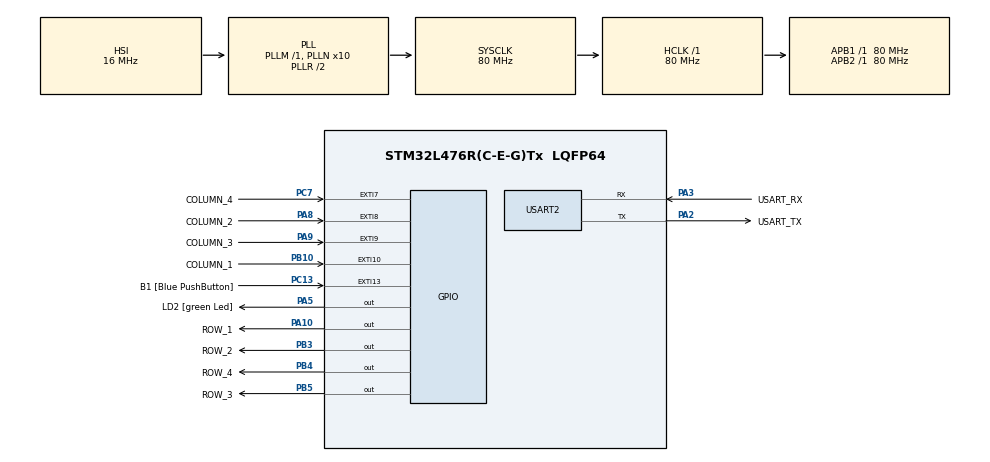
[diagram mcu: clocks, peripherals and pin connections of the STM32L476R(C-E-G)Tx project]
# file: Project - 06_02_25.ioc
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Mcu.Family=STM32L4
Mcu.Name=STM32L476R(C-E-G)Tx
Mcu.Package=LQFP64
NVIC.EXTI15_10_IRQn=true\:0\:0\:false\:false\:true\:true\:true\:true
NVIC.EXTI9_5_IRQn=true\:0\:0\:false\:false\:true\:true\:true\:true
NVIC.PriorityGroup=NVIC_PRIORITYGROUP_4
NVIC.USART2_IRQn=true\:0\:0\:false\:false\:true\:true\:true\:true
PA10.GPIO_Label=ROW_1
PA10.GPIO_ModeDefaultOutputPP=GPIO_MODE_OUTPUT_OD
PA10.GPIO_PuPd=GPIO_NOPULL
PA10.PinState=GPIO_PIN_RESET
PA10.Signal=GPIO_Output
PA13\ (JTMS-SWDIO).GPIO_Label=TMS
PA13\ (JTMS-SWDIO).Mode=Serial_Wire
PA13\ (JTMS-SWDIO).Signal=SYS_JTMS-SWDIO
PA14\ (JTCK-SWCLK).GPIO_Label=TCK
PA14\ (JTCK-SWCLK).Mode=Serial_Wire
PA14\ (JTCK-SWCLK).Signal=SYS_JTCK-SWCLK
PA2.GPIO_Label=USART_TX
PA2.GPIO_Mode=GPIO_MODE_AF_PP
PA2.GPIO_PuPd=GPIO_NOPULL
PA2.GPIO_Speed=GPIO_SPEED_FREQ_VERY_HIGH
PA2.Mode=Asynchronous
PA2.Signal=USART2_TX
PA3.GPIO_Label=USART_RX
PA3.GPIO_Mode=GPIO_MODE_AF_PP
PA3.GPIO_PuPd=GPIO_NOPULL
PA3.GPIO_Speed=GPIO_SPEED_FREQ_VERY_HIGH
PA3.Mode=Asynchronous
PA3.Signal=USART2_RX
PA5.GPIO_Label=LD2 [green Led]
PA5.GPIO_ModeDefaultOutputPP=GPIO_MODE_OUTPUT_PP
PA5.GPIO_PuPd=GPIO_NOPULL
PA5.GPIO_Speed=GPIO_SPEED_FREQ_LOW
PA5.Signal=GPIO_Output
PA8.GPIO_Label=COLUMN_2
PA8.GPIO_ModeDefaultEXTI=GPIO_MODE_IT_FALLING
PA8.GPIO_PuPd=GPIO_PULLUP
PA8.Signal=GPXTI8
PA9.GPIO_Label=COLUMN_3
PA9.GPIO_ModeDefaultEXTI=GPIO_MODE_IT_FALLING
PA9.GPIO_PuPd=GPIO_PULLUP
PA9.Signal=GPXTI9
PB10.GPIO_Label=COLUMN_1
PB10.GPIO_ModeDefaultEXTI=GPIO_MODE_IT_FALLING
PB10.GPIO_PuPd=GPIO_PULLUP
PB10.Signal=GPXTI10
PB3\ (JTDO-TRACESWO).GPIO_Label=ROW_2
PB3\ (JTDO-TRACESWO).GPIO_ModeDefaultOutputPP=GPIO_MODE_OUTPUT_OD
PB3\ (JTDO-TRACESWO).GPIO_PuPd=GPIO_NOPULL
PB3\ (JTDO-TRACESWO).PinState=GPIO_PIN_RESET
PB3\ (JTDO-TRACESWO).Signal=GPIO_Output
PB4\ (NJTRST).GPIO_Label=ROW_4
PB4\ (NJTRST).GPIO_ModeDefaultOutputPP=GPIO_MODE_OUTPUT_OD
PB4\ (NJTRST).GPIO_PuPd=GPIO_NOPULL
PB4\ (NJTRST).PinState=GPIO_PIN_RESET
PB4\ (NJTRST).Signal=GPIO_Output
PB5.GPIO_Label=ROW_3
PB5.GPIO_ModeDefaultOutputPP=GPIO_MODE_OUTPUT_OD
PB5.GPIO_PuPd=GPIO_NOPULL
PB5.PinState=GPIO_PIN_RESET
PB5.Signal=GPIO_Output
PC13.GPIO_Label=B1 [Blue PushButton]
PC13.GPIO_ModeDefaultEXTI=GPIO_MODE_IT_FALLING
PC13.GPIO_PuPd=GPIO_NOPULL
PC13.Signal=GPXTI13
PC14-OSC32_IN\ (PC14).Mode=LSE-External-Oscillator
PC14-OSC32_IN\ (PC14).Signal=RCC_OSC32_IN
PC15-OSC32_OUT\ (PC15).Mode=LSE-External-Oscillator
PC15-OSC32_OUT\ (PC15).Signal=RCC_OSC32_OUT
PC7.GPIO_Label=COLUMN_4
PC7.GPIO_ModeDefaultEXTI=GPIO_MODE_IT_FALLING
PC7.GPIO_PuPd=GPIO_PULLUP
PC7.Signal=GPXTI7
PH0-OSC_IN\ (PH0).Signal=RCC_OSC_IN
PH1-OSC_OUT\ (PH1).Signal=RCC_OSC_OUT
ProjectManager.HeapSize=0x200
ProjectManager.StackSize=0x400
ProjectManager.TargetToolchain=CMake
RCC.ADCFreq_Value=64000000
RCC.AHBFreq_Value=80000000
RCC.APB1Freq_Value=80000000
RCC.APB1TimFreq_Value=80000000
RCC.APB2Freq_Value=80000000
RCC.APB2TimFreq_Value=80000000
RCC.CortexFreq_Value=80000000
RCC.HCLKFreq_Value=80000000
RCC.HSE_VALUE=8000000
RCC.HSI_VALUE=16000000
RCC.MSI_VALUE=4000000
RCC.PLLN=10
RCC.PLLSourceVirtual=RCC_PLLSOURCE_HSI
RCC.PREFETCH_ENABLE=1
RCC.SYSCLKFreq_VALUE=80000000
RCC.SYSCLKSource=RCC_SYSCLKSOURCE_PLLCLK
RCC.USBFreq_Value=64000000
RCC.VCOOutputFreq_Value=160000000
USART2.VirtualMode-Asynchronous=VM_ASYNC
board=NUCLEO-L476RG

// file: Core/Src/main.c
/* USER CODE BEGIN Header */
/**
  ******************************************************************************
  * @file           : main.c
  * @brief          : Main program body
  ******************************************************************************
  * @attention
  *
  * Copyright (c) 2025 STMicroelectronics.
  * All rights reserved.
  *
  * This software is licensed under terms that can be found in the LICENSE file
  * in the root directory of this software component.
  * If no LICENSE file comes with this software, it is provided AS-IS.
  *
  ******************************************************************************
  */
/* USER CODE END Header */
#include "main.h"

/* USER CODE BEGIN Includes */
#include "keypad.h"
#include "ring_buffer.h"
/* USER CODE END Includes */

/* USER CODE BEGIN PTD */
#define RING_BUFFER_SIZE 64
#define COMMAND_LENGTH 5 //longitud de los comandos (#*X*#)

typedef enum {
  DOOR_CLOSED = 0,
  DOOR_OPEN
} door_state_t;

/* USER CODE END PTD */

UART_HandleTypeDef huart2;

/* USER CODE BEGIN PV */
uint8_t ring_buffer_memory[RING_BUFFER_SIZE];
ring_buffer_t ring_buffer;

door_state_t door_state = DOOR_CLOSED;
uint8_t command_buffer[COMMAND_LENGTH];
uint8_t command_index = 0;

uint8_t keypad_char_count = 0; // Contador de caracteres del keypad
/* USER CODE END PV */

void SystemClock_Config(void);
static void MX_GPIO_Init(void);
static void MX_USART2_UART_Init(void);
void process_commands(void); // Declaración de la función process_commands

/* USER CODE BEGIN 0 */
uint32_t key_pressed_tick = 0;
uint16_t column_pressed = 0;
uint8_t byte_received;

uint32_t debounce_tick = 0;
void HAL_GPIO_EXTI_Callback(uint16_t GPIO_Pin)
{
  if ((debounce_tick + 200) > HAL_GetTick()) {
    return;
  }
  debounce_tick = HAL_GetTick();
  key_pressed_tick = HAL_GetTick();
  column_pressed = GPIO_Pin;
}

void HAL_UART_RxCpltCallback(UART_HandleTypeDef *huart) {
  if (huart->Instance == USART2) {
    if (!ring_buffer_is_full(&ring_buffer)) { // Solo escribir si hay espacio
      ring_buffer_write(&ring_buffer, byte_received);
    }
    HAL_UART_Receive_IT(&huart2, &byte_received, 1); // Rehabilitar la recepción de UART
  }
}
/* USER CODE END 0 */

int main(void)
{

  /* USER CODE BEGIN 1 */
  ring_buffer_init(&ring_buffer, ring_buffer_memory, RING_BUFFER_SIZE);
  /* USER CODE END 1 */

  /* MCU Configuration--------------------------------------------------------*/

  /* Reset of all peripherals, Initializes the Flash interface and the Systick. */
  HAL_Init();

  /* Configure the system clock */
  SystemClock_Config();

  /* Initialize all configured peripherals */
  MX_GPIO_Init();
  MX_USART2_UART_Init();
  /* USER CODE BEGIN 2 */
  keypad_init();
  HAL_UART_Receive_IT(&huart2, &byte_received, 1);
  HAL_UART_Transmit(&huart2, (uint8_t *)"Sistema de Control de Acesso Iniciado\r\n", 38, 100);
  /* USER CODE END 2 */

  /* Infinite loop */
  /* USER CODE BEGIN WHILE */
  while (1) {
    if (column_pressed != 0 && (key_pressed_tick + 5) < HAL_GetTick()) {
      uint8_t key = keypad_scan(column_pressed);
      ring_buffer_write(&ring_buffer, key); // Guardar en buffer
      HAL_UART_Transmit(&huart2, &key, 1, 100); // Enviar por UART

      keypad_char_count++; // Incrementar el contador de caracteres

      // Si se han ingresado 5 caracteres, enviar salto de línea
      if (keypad_char_count == 5) {
          uint8_t newline = ' ';
          HAL_UART_Transmit(&huart2, &newline, 1, 100);
          keypad_char_count = 0; // Reiniciar contador
      }

      column_pressed = 0;
  }

    process_commands(); // Procesar los comandos del ring buffer

    /* USER CODE END WHILE */

  }
}

void SystemClock_Config(void)
{
  RCC_OscInitTypeDef RCC_OscInitStruct = {0};
  RCC_ClkInitTypeDef RCC_ClkInitStruct = {0};

  /** Configure the main internal regulator output voltage
  */
  if (HAL_PWREx_ControlVoltageScaling(PWR_REGULATOR_VOLTAGE_SCALE1) != HAL_OK)
  {
    Error_Handler();
  }

  /** Initializes the RCC Oscillators according to the specified parameters
  * in the RCC_OscInitTypeDef structure.
  */
  RCC_OscInitStruct.OscillatorType = RCC_OSCILLATORTYPE_HSI;
  RCC_OscInitStruct.HSIState = RCC_HSI_ON;
  RCC_OscInitStruct.HSICalibrationValue = RCC_HSICALIBRATION_DEFAULT;
  RCC_OscInitStruct.PLL.PLLState = RCC_PLL_ON;
  RCC_OscInitStruct.PLL.PLLSource = RCC_PLLSOURCE_HSI;
  RCC_OscInitStruct.PLL.PLLM = 1;
  RCC_OscInitStruct.PLL.PLLN = 10;
  RCC_OscInitStruct.PLL.PLLP = RCC_PLLP_DIV7;
  RCC_OscInitStruct.PLL.PLLQ = RCC_PLLQ_DIV2;
  RCC_OscInitStruct.PLL.PLLR = RCC_PLLR_DIV2;
  if (HAL_RCC_OscConfig(&RCC_OscInitStruct) != HAL_OK)
  {
    Error_Handler();
  }

  /** Initializes the CPU, AHB and APB buses clocks
  */
  RCC_ClkInitStruct.ClockType = RCC_CLOCKTYPE_HCLK|RCC_CLOCKTYPE_SYSCLK
                              |RCC_CLOCKTYPE_PCLK1|RCC_CLOCKTYPE_PCLK2;
  RCC_ClkInitStruct.SYSCLKSource = RCC_SYSCLKSOURCE_PLLCLK;
  RCC_ClkInitStruct.AHBCLKDivider = RCC_SYSCLK_DIV1;
  RCC_ClkInitStruct.APB1CLKDivider = RCC_HCLK_DIV1;
  RCC_ClkInitStruct.APB2CLKDivider = RCC_HCLK_DIV1;

  if (HAL_RCC_ClockConfig(&RCC_ClkInitStruct, FLASH_LATENCY_4) != HAL_OK)
  {
    Error_Handler();
  }
}

static void MX_USART2_UART_Init(void)
{

  huart2.Instance = USART2;
  huart2.Init.BaudRate = 115200;
  huart2.Init.WordLength = UART_WORDLENGTH_8B;
  huart2.Init.StopBits = UART_STOPBITS_1;
  huart2.Init.Parity = UART_PARITY_NONE;
  huart2.Init.Mode = UART_MODE_TX_RX;
  huart2.Init.HwFlowCtl = UART_HWCONTROL_NONE;
  huart2.Init.OverSampling = UART_OVERSAMPLING_16;
  huart2.Init.OneBitSampling = UART_ONE_BIT_SAMPLE_DISABLE;
  huart2.AdvancedInit.AdvFeatureInit = UART_ADVFEATURE_NO_INIT;
  if (HAL_UART_Init(&huart2) != HAL_OK)
  {
    Error_Handler();
  }

}

static void MX_GPIO_Init(void)
{
  GPIO_InitTypeDef GPIO_InitStruct = {0};

  /* GPIO Ports Clock Enable */
  __HAL_RCC_GPIOC_CLK_ENABLE();
  __HAL_RCC_GPIOH_CLK_ENABLE();
  __HAL_RCC_GPIOA_CLK_ENABLE();
  __HAL_RCC_GPIOB_CLK_ENABLE();

  /*Configure GPIO pin Output Level */
  HAL_GPIO_WritePin(GPIOA, LD2_Pin|ROW_1_Pin, GPIO_PIN_RESET);

  /*Configure GPIO pin Output Level */
  HAL_GPIO_WritePin(GPIOB, ROW_2_Pin|ROW_4_Pin|ROW_3_Pin, GPIO_PIN_RESET);

  /*Configure GPIO pin : B1_Pin */
  GPIO_InitStruct.Pin = B1_Pin;
  GPIO_InitStruct.Mode = GPIO_MODE_IT_FALLING;
  GPIO_InitStruct.Pull = GPIO_NOPULL;
  HAL_GPIO_Init(B1_GPIO_Port, &GPIO_InitStruct);

  /*Configure GPIO pin : LD2_Pin */
  GPIO_InitStruct.Pin = LD2_Pin;
  GPIO_InitStruct.Mode = GPIO_MODE_OUTPUT_PP;
  GPIO_InitStruct.Pull = GPIO_NOPULL;
  GPIO_InitStruct.Speed = GPIO_SPEED_FREQ_LOW;
  HAL_GPIO_Init(LD2_GPIO_Port, &GPIO_InitStruct);

  /*Configure GPIO pin : COLUMN_1_Pin */
  GPIO_InitStruct.Pin = COLUMN_1_Pin;
  GPIO_InitStruct.Mode = GPIO_MODE_IT_FALLING;
  GPIO_InitStruct.Pull = GPIO_PULLUP;
  HAL_GPIO_Init(COLUMN_1_GPIO_Port, &GPIO_InitStruct);

  /*Configure GPIO pin : COLUMN_4_Pin */
  GPIO_InitStruct.Pin = COLUMN_4_Pin;
  GPIO_InitStruct.Mode = GPIO_MODE_IT_FALLING;
  GPIO_InitStruct.Pull = GPIO_PULLUP;
  HAL_GPIO_Init(COLUMN_4_GPIO_Port, &GPIO_InitStruct);

  /*Configure GPIO pins : COLUMN_2_Pin COLUMN_3_Pin */
  GPIO_InitStruct.Pin = COLUMN_2_Pin|COLUMN_3_Pin;
  GPIO_InitStruct.Mode = GPIO_MODE_IT_FALLING;
  GPIO_InitStruct.Pull = GPIO_PULLUP;
  HAL_GPIO_Init(GPIOA, &GPIO_InitStruct);

  /*Configure GPIO pin : ROW_1_Pin */
  GPIO_InitStruct.Pin = ROW_1_Pin;
  GPIO_InitStruct.Mode = GPIO_MODE_OUTPUT_OD;
  GPIO_InitStruct.Pull = GPIO_NOPULL;
  GPIO_InitStruct.Speed = GPIO_SPEED_FREQ_VERY_HIGH;
  HAL_GPIO_Init(ROW_1_GPIO_Port, &GPIO_InitStruct);

  /*Configure GPIO pins : ROW_2_Pin ROW_4_Pin ROW_3_Pin */
  GPIO_InitStruct.Pin = ROW_2_Pin|ROW_4_Pin|ROW_3_Pin;
  GPIO_InitStruct.Mode = GPIO_MODE_OUTPUT_OD;
  GPIO_InitStruct.Pull = GPIO_NOPULL;
  GPIO_InitStruct.Speed = GPIO_SPEED_FREQ_VERY_HIGH;
  HAL_GPIO_Init(GPIOB, &GPIO_InitStruct);

  /* EXTI interrupt init*/
  HAL_NVIC_SetPriority(EXTI9_5_IRQn, 0, 0);
  HAL_NVIC_EnableIRQ(EXTI9_5_IRQn);

  HAL_NVIC_SetPriority(EXTI15_10_IRQn, 0, 0);
  HAL_NVIC_EnableIRQ(EXTI15_10_IRQn);

}

/* USER CODE BEGIN 4 */
void process_commands(void) {
  uint8_t byte;
  while (ring_buffer_read(&ring_buffer, &byte)) { // Leer el ring buffer continuamente
      command_buffer[command_index] = byte; // Almacenar el byte en el buffer de comandos
      command_index++;

      // Verificar si hemos recibido un comando completo
      if (command_index == COMMAND_LENGTH) {
          command_index = 0; // Reiniciar el índice para el próximo comando

          // Verificar si el comando tiene el formato correcto (#*X*#)
          if (command_buffer[0] == '#' && command_buffer[1] == '*' &&
              command_buffer[3] == '*' && command_buffer[4] == '#') {
              char command = command_buffer[2];

              // Ejecutar la acción correspondiente al comando
              switch (command) {
                  case 'A':
                      HAL_GPIO_WritePin(LD2_GPIO_Port, LD2_Pin, GPIO_PIN_SET);
                      door_state = DOOR_OPEN;
                      HAL_UART_Transmit(&huart2, (uint8_t *)"Puerta Abierta\r\n", 16, 100);
                      break;
                  case 'C':
                      HAL_GPIO_WritePin(LD2_GPIO_Port, LD2_Pin, GPIO_PIN_RESET);
                      door_state = DOOR_CLOSED;
                      HAL_UART_Transmit(&huart2, (uint8_t *)"Puerta Cerrada\r\n", 16, 100);
                      break;
                  case '1':
                      if (door_state == DOOR_OPEN) {
                          HAL_UART_Transmit(&huart2, (uint8_t *)"Estado: Puerta Abierta\r\n", 24, 100);
                      } else {
                          HAL_UART_Transmit(&huart2, (uint8_t *)"Estado: Puerta Cerrada\r\n", 24, 100);
                      }
                      break;
                  case '0':
                      ring_buffer_reset(&ring_buffer);
                      HAL_UART_Transmit(&huart2, (uint8_t *)"Buffer Limpiado\r\n", 17, 100);
                      break;
                  default:
                      HAL_UART_Transmit(&huart2, (uint8_t *)"Comando Desconocido\r\n", 21, 100);
                      break;
              }

              // **LIMPIAR EL BUFFER DESPUÉS DE PROCESAR**
              memset(command_buffer, 0, COMMAND_LENGTH);
              ring_buffer_reset(&ring_buffer);
          }
      }
  }
}

/* USER CODE END 4 */

void Error_Handler(void)
{
  __disable_irq();
  while (1)
  {
  }
}
